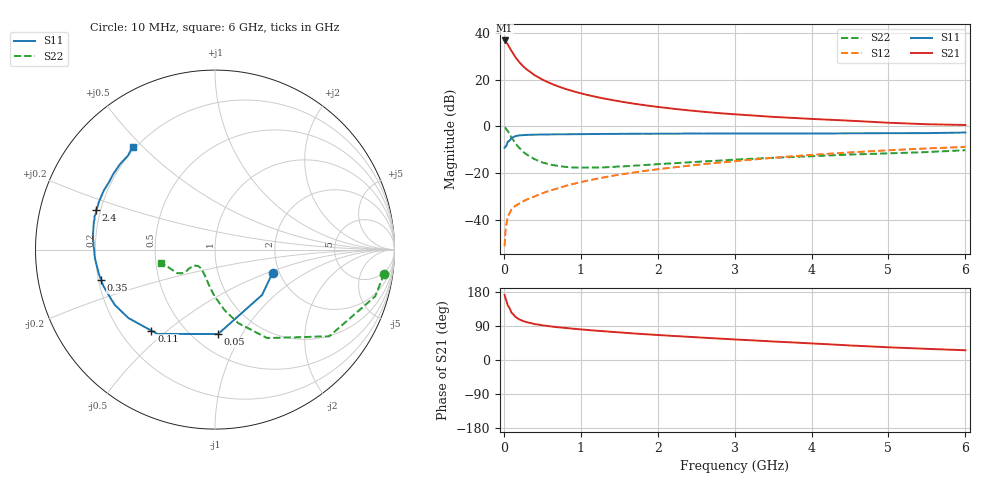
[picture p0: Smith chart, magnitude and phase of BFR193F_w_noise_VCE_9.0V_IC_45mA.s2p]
! Infineon Technologies  Discrete & RF Semiconductors
! BFR193F
! VCE =  9.0 V,  IC =  45 mA
! Common Emitter S-Parameters:  Jan 2017
# GHz  S  MA  R  50
!  f  S11  S21  S12  S22
! GHz  MAG  ANG  MAG  ANG  MAG  ANG  MAG  ANG
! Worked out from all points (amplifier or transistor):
!   77 points, 10 MHz to 6 GHz, reference 50 ohm
!   highest |S21| = 36.8 dB at 10 MHz (marker M1)
!   |S21| within 3 dB of that: start of sweep to 73.3 MHz
!   unconditionally stable (mu >= 1): 991.9 MHz to 2.574 GHz
!   at 130 MHz: K = 0.43, MSG = 32.7 dB, |S12| = -34.7 dB
!   at 2.2 GHz: K = 1.02, MAG = 11.8 dB, |S12| = -17.6 dB
!   at 6 GHz: K = 0.85, MSG = 4.7 dB, |S12| = -8.8 dB
!   lowest NFmin = 1.41 dB at 450 MHz
!   S11 on the Smith chart (normalised r, x): 10 MHz: 1.84, -0.54; 50 MHz: 0.66, -0.79; 110 MHz: 0.33, -0.44; 350 MHz: 0.21, -0.12; 2.4 GHz: 0.18, +0.16; 6 GHz: 0.19, +0.47
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0.01  0.3461 -21.8  68.94 171.8  0.0027 85.1  0.9514 -8.1
0.02  0.3643 -44.0  66.8 163.9  0.0054 73.8  0.9303 -16.2
0.05  0.4706 -87.9  57.14 144.8  0.0111 63.8  0.7989 -37.2
0.1  0.5693 -124.4  40.82 124.6  0.0166 52.6  0.5721 -59.5
0.11  0.5741 -128.1  38.62 122.9  0.0172 52.2  0.5419 -61.5
0.15  0.6151 -141.7  30.27 113.8  0.0197 50.9  0.4302 -72.4
0.2  0.6377 -151.1  23.72 107.2  0.0221 52.4  0.3455 -80.6
0.25  0.646 -157.8  19.34 102.8  0.0246 52.6  0.2843 -87.1
0.3  0.6544 -162.1  16.35 99.6  0.027 56.1  0.2474 -92.2
0.35  0.6567 -165.2  14.37 97.5  0.0292 57.7  0.2215 -95.8
0.4  0.661 -168.3  12.41 94.8  0.0314 59.1  0.1968 -100.4
0.5  0.6648 -172.3  10.01 91.6  0.0367 61.3  0.1681 -106.9
0.6  0.67 -175.3  8.391 88.9  0.042 65.2  0.1511 -112.8
0.8  0.6728 -179.7  6.32 84.6  0.0527 68.6  0.1351 -122.4
1.1  0.6811 175.3  4.634 79.0  0.0691 71.0  0.1305 -131.3
1.5  0.6879 170.2  3.429 72.9  0.0918 72.5  0.1376 -139.0
2.1  0.6949 164.0  2.488 64.8  0.1255 72.9  0.1577 -143.2
2.4  0.6982 161.4  2.194 61.2  0.1425 72.7  0.1687 -143.9
3.1  0.6993 155.5  1.762 53.2  0.1847 71.6  0.1964 -143.1
4.1  0.7009 146.8  1.413 42.7  0.2499 67.9  0.232 -145.3
5.1  0.7117 137.1  1.173 32.7  0.3118 62.7  0.2662 -155.5
6  0.7339 128.6  1.067 25.7  0.3615 57.6  0.3071 -166.1
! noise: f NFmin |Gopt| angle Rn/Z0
0.45  1.41  0.45  180  0.07
0.9  1.49  0.46  -179  0.07
1.9  2.06  0.59  -164  0.09
2.4  2.37  0.61  -156  0.14
